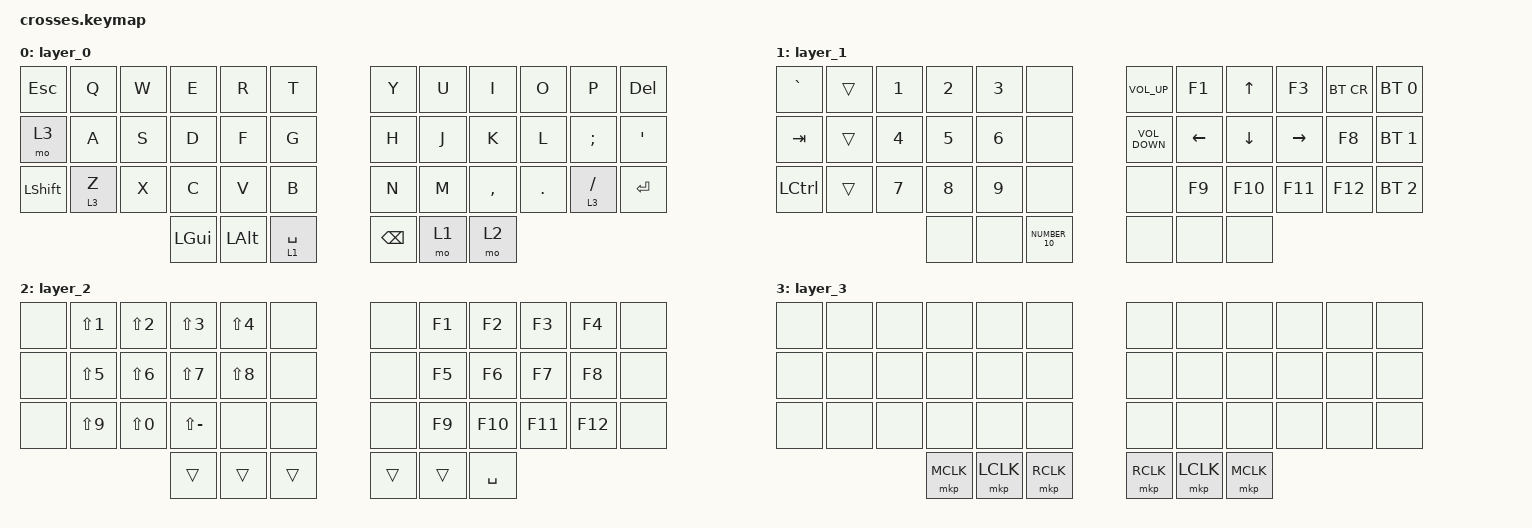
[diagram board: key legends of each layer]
#include <behaviors.dtsi>
#include <dt-bindings/zmk/bt.h>
#include <dt-bindings/zmk/keys.h>
#include <dt-bindings/zmk/pointing.h>
#include <dt-bindings/zmk/rgb.h>



/ {
    
keymap {
        compatible = "zmk,keymap";

        layer_0 {
            bindings = <
&kp ESC           &kp Q      &kp W    &kp E    &kp R     &kp T        &kp Y    &kp U    &kp I        &kp O    &kp P        &kp DELETE
&mo 3    &kp A      &kp S    &kp D    &kp F    &kp G     &kp H        &kp J    &kp K        &kp L    &kp SEMI    &kp SQT
&kp LSHIFT         &lt 3 Z    &kp X    &kp C    &kp V    &kp B        &kp N    &kp M    &kp COMMA    &kp DOT  &lt 3 FSLH  &kp ENTER
                      &kp LEFT_GUI  &kp LEFT_ALT  &lt 1 SPACE        &kp BACKSPACE  &mo 1     &mo 2
            >;
        };

        layer_1 {
            bindings = <
&kp GRAVE    &trans     &kp NUMBER_1  &kp NUMBER_2  &kp NUMBER_3  &none       &kp C_VOLUME_UP   &kp F1         &kp UP        &kp F3                  &bt BT_CR     &bt BT_SEL 0
&kp TAB      &trans     &kp NUMBER_4  &kp NUMBER_5  &kp NUMBER_6  &none       &kp C_VOLUME_DOWN   &kp LEFT         &kp DOWN        &kp RIGHT                &kp F8      &bt BT_SEL 1
&kp LCTRL    &trans     &kp NUMBER_7  &kp NUMBER_8  &kp NUMBER_9  &none       &none   &kp F9         &kp F10       &kp F11               &kp F12     &bt BT_SEL 2
                                         &none    &none    &kp NUMBER_10       &none    &none    &none
            >;
        };

        layer_2 {
            bindings = <
&none    &kp LS(N1)  &kp LS(N2)  &kp LS(N3)     &kp LS(N4)  &none       &none   &kp F1         &kp F2        &kp F3                &kp F4     &none
&none    &kp LS(N5)  &kp LS(N6)  &kp LS(N7)     &kp LS(N8)  &none       &none   &kp F5         &kp F6        &kp F7                &kp F8     &none
&none    &kp LS(N9)  &kp LS(N0)  &kp LS(MINUS)  &none       &none       &none   &kp F9         &kp F10       &kp F11               &kp F12    &none
                        &trans           &trans            &trans            &trans      &trans    &kp SPACE
            >;
        };

        layer_3 {
            bindings = <
&none    &none         &none         &none         &none      &none         &none       &none      &none         &none         &none           &none
&none    &none         &none         &none         &none      &none         &none       &none      &none         &none         &none           &none
&none    &none         &none         &none         &none      &none         &none       &none      &none         &none         &none           &none
                                 &mkp MCLK  &mkp LCLK  &mkp RCLK               &mkp RCLK   &mkp LCLK    &mkp MCLK
            >;
        };

    };
 
};
